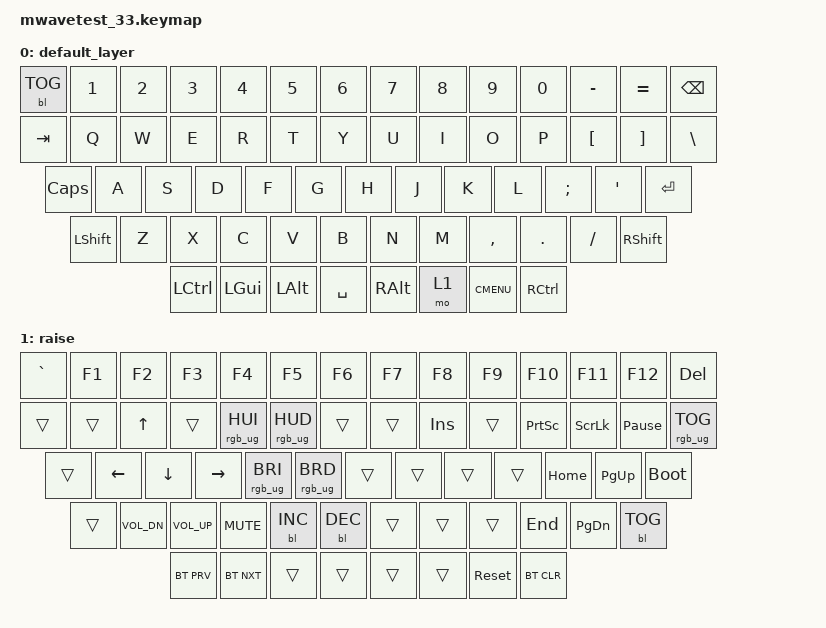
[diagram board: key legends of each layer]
#include <behaviors.dtsi>
#include <dt-bindings/zmk/keys.h>
#include <dt-bindings/zmk/bt.h>
#include <dt-bindings/zmk/rgb.h>
#include <dt-bindings/zmk/outputs.h>
#include <dt-bindings/zmk/backlight.h>

#define ANSI


/ {
  chosen {
    zmk,matrix-transform = &ansi_transform;
  };
  macros {
        ZMK_MACRO(ble_zero,
            wait-ms = <1>;
            tap-ms = <1>;
            bindings = <&out OUT_BLE &bt BT_SEL 0>;
        )
        ZMK_MACRO(ble_one,
            wait-ms = <1>;
            tap-ms = <1>;
            bindings = <&out OUT_BLE &bt BT_SEL 1>;
        )
    };

    endpoint_sideband_behaviors {
        compatible = "zmk,kscan-sideband-behaviors";
        auto-enable;
        kscan = <&kscan_sp3t_toggle>;

        first_toggle_sideband: first_toggle_sideband {
            column = <0>;
            bindings = <&out OUT_USB>;
        };

        second_toggle_sideband: second_toggle_sideband {
            column = <1>;
            bindings = <&ble_zero>;
        };

        third_toggle_sideband: third_toggle_sideband {
            column = <2>;
            bindings = <&ble_one>;
        };
    };

  keymap {
    compatible = "zmk,keymap";
    default_layer {
        // ------------------------------------------------------------------------------------------
        // | ESC |  1  |  2  |  3  |  4  |  5  |  6  |  7  |  8  |  9  |  0  |  -  |  =  |   BKSP   |
        // | TAB  |  Q  |  W  |  E  |  R  |  T  |  Y  |  U  |  I  |  O  |  P  |  [  |  ]  |   \     |
        // | CAPS  |  A  |  S  |  D  |  F  |  G  |  H  |  J  |  K  |  L  |  ;  |  '  |     ENTER    |
        // |  SHIFT    |  Z  |  X  |  C  |  V  |  B  |  N  |  M  |  ,  |  .  | /   |      SHIFT     |
        // |  CTL  |  WIN  |  ALT  |            SPACE               | ALT |   1  |  MENU   |  CTRL  |
        // ------------------------------------------------------------------------------------------
      bindings = <

        &bl BL_TOG &kp N1 &kp N2 &kp N3 &kp N4 &kp N5 &kp N6 &kp N7 &kp  N8   &kp  N9 &kp  N0  &kp MINUS &kp EQUAL &kp BSPC
        &kp TAB  &kp Q  &kp W  &kp E  &kp R  &kp T  &kp Y  &kp U  &kp  I    &kp  O  &kp  P   &kp LBKT &kp RBKT   &kp BSLH
        &kp CAPS  &kp A  &kp S  &kp D  &kp F  &kp G  &kp H  &kp J  &kp  K    &kp  L  &kp SEMI &kp SQT            &kp RET
        &kp LSHFT  &kp Z  &kp X  &kp C  &kp V  &kp B  &kp N  &kp M  &kp COMMA &kp DOT &kp FSLH                &kp RSHFT
        &kp LCTRL &kp LGUI &kp LALT            &kp SPACE                          &kp RALT  &mo 1 &kp K_CMENU    &kp RCTRL
      >;
    };
    raise {
        // ------------------------------------------------------------------------------------------
        // |GRAVE| F1  | F2  | F3  | F4  | F5  | F6  | F7  | F8  | F9  | F10 | F11 | F12 |    DEL   |
        // | TAB  |  Q  | UP  |  E  | HUI | HUD |  Y  |  U  | INS |  O  |PSCRN| SLCK| P_B |  RGB_TOG|
        // | CAPS  | LEFT| DOWN|RIGHT| BRI | BRD |  H  |  J  |  K  |  L  | HOME| PGUP|     BOOT     |
        // |  SHIFT   |VOLDN|VOLUP| MUTE|BLINC|BLDEC|  N  |  M  |  ,  | END | PGDN |      BL_TOG    |
        // | BT_PRV| BT_NXT|  ALT  |            SPACE               | ALT |   1  |  RESET  | BT_CLR |
        // ------------------------------------------------------------------------------------------
      bindings = <
        &kp GRAVE &kp F1 &kp F2 &kp F3 &kp F4 &kp F5 &kp F6 &kp F7 &kp F8 &kp F9 &kp F10 &kp F11 &kp F12 &kp DEL
        &trans &trans &kp UP &trans &rgb_ug RGB_HUI &rgb_ug RGB_HUD &trans &trans &kp INS &trans &kp PSCRN &kp SLCK &kp PAUSE_BREAK &rgb_ug RGB_TOG
        &trans    &kp LEFT &kp DOWN &kp RIGHT &rgb_ug RGB_BRI &rgb_ug RGB_BRD &trans &trans &trans &trans &kp HOME  &kp PG_UP   &bootloader
        &trans   &kp C_VOL_DN &kp C_VOL_UP &kp C_MUTE &bl BL_INC &bl BL_DEC &trans &trans &trans &kp END &kp PG_DN  &bl BL_TOG
        &bt BT_PRV &bt BT_NXT  &trans              &trans                            &trans   &trans   &sys_reset &bt BT_CLR
      >;
    };
  };
};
